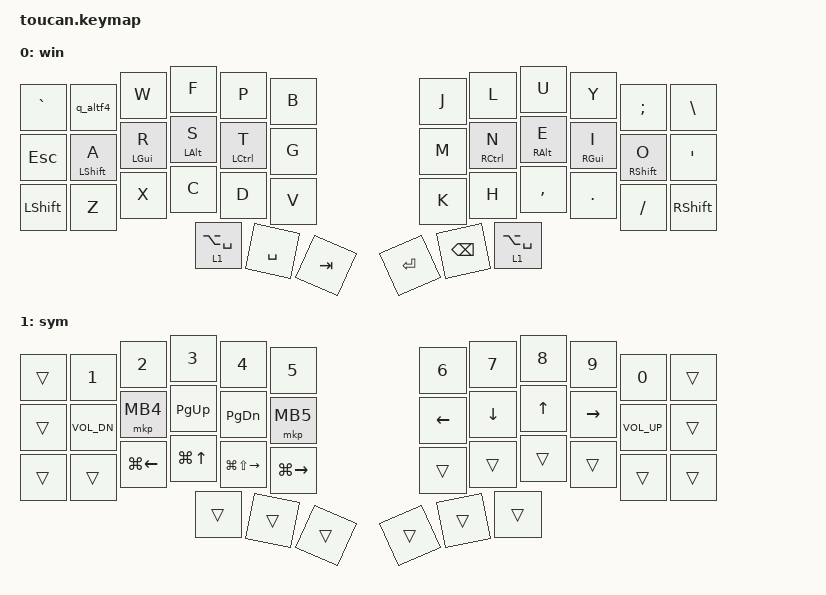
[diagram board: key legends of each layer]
#include <behaviors.dtsi>
#include <dt-bindings/zmk/bt.h>
#include <dt-bindings/zmk/keys.h>
#include <dt-bindings/zmk/pointing.h>

// Globals

#define QUICK_TAP_MS 175
#define PRIOR_IDLE_MS 150
#define TIMEOUT_MS 25

&sk {
    release-after-ms = <900>;
    quick-release;
};

&lt {
    flavor = "balanced";
    tapping-term-ms = <200>;
    quick-tap-ms = <175>;
};

&mt {
    require-prior-idle-ms = <150>;
    flavor = "balanced";
    tapping-term-ms = <280>;
    quick-tap-ms = <175>;
};

&sl { ignore-modifiers; };

/ {
    behaviors {
        q_altf4: q_altf4 {
            compatible = "zmk,behavior-mod-morph";
            #binding-cells = <0>;
            bindings = <&kp Q>, <&kp LA(F4)>;
            mods = <(MOD_LCTL|MOD_RCTL)>;
        };
    };

    combos {
        compatible = "zmk,combos";

        caps-lock {
            bindings = <&kp CAPS>;
            key-positions = <24 35>;
            require-prior-idle-ms = <PRIOR_IDLE_MS>;
            timeout-ms = <TIMEOUT_MS>;
        };

        layer-lock {
            bindings = <&tog 1>;
            key-positions = <36 41>;
            require-prior-idle-ms = <PRIOR_IDLE_MS>;
            timeout-ms = <TIMEOUT_MS>;
        };

        studio {
            bindings = <&studio_unlock>;
            key-positions = <0 11>;
            require-prior-idle-ms = <PRIOR_IDLE_MS>;
            timeout-ms = <TIMEOUT_MS>;
        };

        bt_next {
            bindings = <&bt BT_NXT>;
            key-positions = <36 37 38>;
            require-prior-idle-ms = <PRIOR_IDLE_MS>;
            timeout-ms = <TIMEOUT_MS>;
        };

        bt_clear {
            bindings = <&bt BT_CLR_ALL>;
            key-positions = <39 40 41>;
            require-prior-idle-ms = <PRIOR_IDLE_MS>;
            timeout-ms = <TIMEOUT_MS>;
        };

        lbrc {
            bindings = <&kp LBRC>;
            key-positions = <4 5>;
            require-prior-idle-ms = <PRIOR_IDLE_MS>;
            timeout-ms = <TIMEOUT_MS>;
        };

        rbrc {
            bindings = <&kp RBRC>;
            key-positions = <6 7>;
            require-prior-idle-ms = <PRIOR_IDLE_MS>;
            timeout-ms = <TIMEOUT_MS>;
        };

        lpar {
            bindings = <&kp LPAR>;
            key-positions = <16 17>;
            require-prior-idle-ms = <PRIOR_IDLE_MS>;
            timeout-ms = <TIMEOUT_MS>;
        };

        rpar {
            bindings = <&kp RPAR>;
            key-positions = <18 19>;
            require-prior-idle-ms = <PRIOR_IDLE_MS>;
            timeout-ms = <TIMEOUT_MS>;
        };

        lbkt {
            bindings = <&kp LBKT>;
            key-positions = <28 29>;
            require-prior-idle-ms = <PRIOR_IDLE_MS>;
            timeout-ms = <TIMEOUT_MS>;
        };

        rbkt {
            bindings = <&kp RBKT>;
            key-positions = <30 31>;
            require-prior-idle-ms = <PRIOR_IDLE_MS>;
            timeout-ms = <TIMEOUT_MS>;
        };

        mod {
            bindings = <&kp PRCNT>;
            key-positions = <8 9>;
            require-prior-idle-ms = <PRIOR_IDLE_MS>;
            timeout-ms = <TIMEOUT_MS>;
        };

        times {
            bindings = <&kp STAR>;
            key-positions = <8 7>;
            require-prior-idle-ms = <PRIOR_IDLE_MS>;
            timeout-ms = <TIMEOUT_MS>;
        };

        equal {
            bindings = <&kp EQUAL>;
            key-positions = <21 20>;
            require-prior-idle-ms = <PRIOR_IDLE_MS>;
            timeout-ms = <TIMEOUT_MS>;
        };

        plus {
            bindings = <&kp PLUS>;
            key-positions = <19 20>;
            require-prior-idle-ms = <PRIOR_IDLE_MS>;
            timeout-ms = <TIMEOUT_MS>;
        };

        under {
            bindings = <&kp UNDER>;
            key-positions = <32 33>;
            require-prior-idle-ms = <PRIOR_IDLE_MS>;
            timeout-ms = <TIMEOUT_MS>;
        };

        minus {
            bindings = <&kp MINUS>;
            key-positions = <32 31>;
            require-prior-idle-ms = <PRIOR_IDLE_MS>;
            timeout-ms = <TIMEOUT_MS>;
        };

        caret {
            bindings = <&kp CARET>;
            key-positions = <2 2 3>;
        };

        dollar {
            bindings = <&kp DLLR>;
            key-positions = <3 4>;
        };

        esc {
            bindings = <&kp ESC>;
            key-positions = <14 15>;
        };

        excl {
            bindings = <&kp EXCL>;
            key-positions = <15 14>;
        };

        at {
            bindings = <&kp AT>;
            key-positions = <26 27>;
        };

        hash {
            bindings = <&kp HASH>;
            key-positions = <27 28>;
        };
    };

    keymap {
        compatible = "zmk,keymap";

        win {
            bindings = <
&kp GRAVE        &q_altf4     &kp W       &kp F       &kp P        &kp B            &kp J  &kp L        &kp U       &kp Y       &kp SEMI      &kp BSLH
&kp ESC          &mt LSHIFT A  &mt LGUI R  &mt LALT S  &mt LCTRL T  &kp G            &kp M  &mt RCTRL N  &mt RALT E  &mt RGUI I  &mt RSHIFT O  &kp APOS
&kp LSHIFT       &kp Z         &kp X       &kp C       &kp D        &kp V            &kp K  &kp H        &kp COMMA   &kp DOT     &kp FSLH      &kp RSHIFT
&lt 1 LA(SPACE)  &kp SPACE     &kp TAB     &kp ENTER   &kp BSPC     &lt 1 LA(SPACE)
            >;
        };

        sym {
            bindings = <
&trans  &kp N1        &kp N2        &kp N3      &kp N4             &kp N5         &kp N6    &kp N7    &kp N8  &kp N9     &kp N0        &trans
&trans  &kp C_VOL_DN  &mkp MB4      &kp PG_UP   &kp PG_DN          &mkp MB5       &kp LEFT  &kp DOWN  &kp UP  &kp RIGHT  &kp C_VOL_UP  &trans
&trans  &trans        &kp LG(LEFT)  &kp LG(UP)  &kp LG(LS(RIGHT))  &kp LG(RIGHT)  &trans    &trans    &trans  &trans     &trans        &trans
&trans  &trans        &trans        &trans      &trans             &trans
            >;
        };
    };
};
